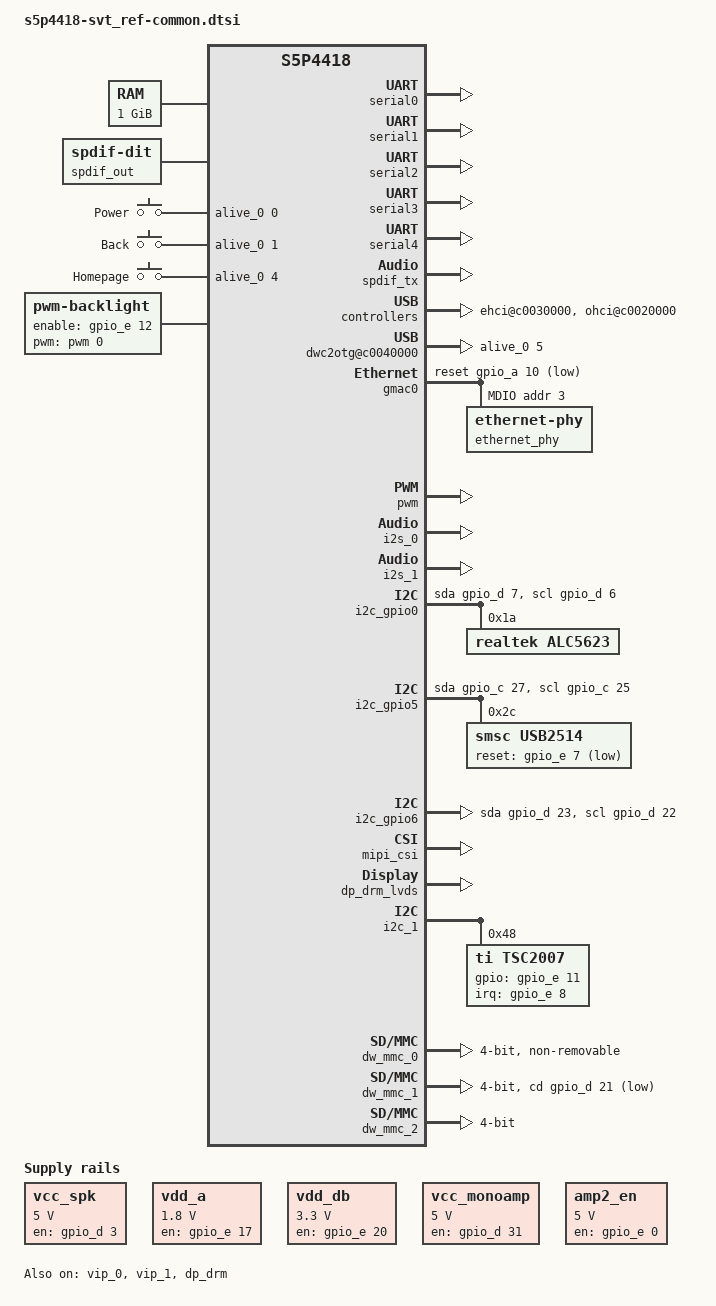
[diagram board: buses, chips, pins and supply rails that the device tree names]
/*
 * Copyright (C) 2019  Nexell Co., Ltd.
 * Author: Ken Kim <kenkim@nexell.co.kr>
 *
 * This program is free software; you can redistribute it and/or
 * modify it under the terms of the GNU General Public License
 * as published by the Free Software Foundation; either version 2
 * of the License, or (at your option) any later version.
 *
 * This program is distributed in the hope that it will be useful,
 * but WITHOUT ANY WARRANTY; without even the implied warranty of
 * MERCHANTABILITY or FITNESS FOR A PARTICULAR PURPOSE.  See the
 * GNU General Public License for more details.
 *
 * You should have received a copy of the GNU General Public License
 * along with this program.  If not, see <http://www.gnu.org/licenses/>.
 */

#include <dt-bindings/interrupt-controller/irq.h>
#include <dt-bindings/gpio/gpio.h>
#include <dt-bindings/input/input.h>
#include "nxp4330.dtsi"

/ {
	memory {
		device_type = "memory";
		reg = <0x71000000 0x40000000>;
	};

	psci {
		compatible = "arm,psci-0.2";
		method = "smc";
	};

	aliases {
		i2c0 = &i2c_gpio0;
		i2c5 = &i2c_gpio5;
		i2c6 = &i2c_gpio6;
		i2c7 = &i2c_gpio7;
	};

	nx-v4l2 {
		status = "okay";
	};

	soc {
		#include "s5p4418-pinctrl.dtsi"
		clocks {
			uart0:uart@c00a9000 { clock-frequency = <100000000>; };
			uart1:uart@c00a8000 { clock-frequency = <100000000>; };
			uart3:uart@c00ab000 { clock-frequency = <147500000>; };
			uart4:uart@c006e000 { clock-frequency = <147500000>; };
			vip0:vip@c00c1000 { src-force = <4>; };
			vip1:vip@c00c2000 { src-force = <5>; };
			pwm0:pwm0@c00ba000 {
				clk-input = <I_PLL2>;
				clock-frequency = <10000000>;
			};
			pwm1:pwm1@c00ba000 {
				clk-input = <I_PLL2>;
				clock-frequency = <10000000>;
			};
			pwm2:pwm2@c00be000 {
				clk-input = <I_PLL2>;
				clock-frequency = <10000000>;
			};
			pwm3:pwm3@c00be000 {
				clk-input = <I_PLL2>;
				clock-frequency = <10000000>;
			};
			i2c0:i2c@c00ae000 { clock-frequency = <200000000>;};
			i2c2:i2c@c00b0000 { clock-frequency = <200000000>;};
		};

		l2:l2-cache-controller@cf000000 {
			arm,prefetch-offset = <7>;
			prefetch-data = <1>;
			prefetch-instr = <1>;
			arm,tag-latency = <3 4 3>;
			arm,data-latency = <3 4 3>;
		};
		serial0:serial@c00a1000 {
			status ="okay";
		};

		serial1:serial@c00a0000 {
			status ="okay";
		};

		serial2:serial@c00a2000 {
			status ="okay";
		};

		serial3:serial@c00a3000 {
			status ="okay";
		};

		serial4:serial@c006d000 {
			status ="okay";
		};

		amba {
			pl08xdma0:pl08xdma@c0000000 {
				use_isr;

				ch12 {
					slave_wait_flush_dma;
				};

				ch13 {
					slave_wait_flush_dma;
				};

				ch14 {
					slave_wait_flush_dma;
				};

				ch15 {
					slave_wait_flush_dma;
				};
			};

			pl08xdma1:pl08xdma@c0001000 {
				use_isr;

				ch0 {
					slave_wait_flush_dma;
				};

				ch1 {
					slave_wait_flush_dma;
				};
			};
		};

		spdif_tx: spdiftx@c0059000 {
			#sound-dai-cells = <1>;
			pcm-bit = <16>;
			sample_rate = <48000>;
			status = "okay";
		};

		watchdog@c0019000 {
			status = "okay";
		};

		rtc@c0010c00 {
			status = "okay";
		};

		nexell_usbphy: nexell-usbphy@c0012000 {
			status = "okay";
		};

		ehci@c0030000 {
			status = "okay";
			port@0 {
				status = "okay";
			};
		};

		ohci@c0020000 {
			status = "okay";
			port@0 {
				status = "okay";
			};
		};

		dwc2otg@c0040000 {
			gpios = <&alive_0 5 0>;
			status = "okay";
		};

		gmac0:ethernet@c0060000 {
			pinctrl-names = "default";
			pinctrl-0 = <&gmac_pins>;

			status = "okay";
			#address-cells = <0x1>;
			#size-cells = <0x0>;

			snps,phy-addr = <3>;
			snps,reset-gpio = <&gpio_a 10 0>;
			snps,reset-active-low;
			snps,reset-delays-us = <0 10000 30000>;

			mdio {
				#address-cells = <1>;
				#size-cells = <0>;

				ethernet_phy: ethernet-phy@3 {
					reg = <3>;
					fixed-link {
						speed = <1000>;
						full-duplex;
					};
				};
			};
		};

		pwm:pwm@c0018000 {
			clock-names = "timers", "pwm-tclk0", "pwm-tclk1";
			clocks =  <&pclk>, <&pwm0>, <&pwm1>;
			pinctrl-names = "default";
			pinctrl-0 = <&pwm0_pin &pwm1_pin>;
			samsung,pwm-outputs = <0>, <1>;
			status = "okay";
		};

		i2s_0:i2s@c0055000 {
			#sound-dai-cells = <1>;
			master-mode = <1>;
			mclk-in = <0>;
			trans-mode = <0>;
			frame-bit = <32>;
			sample-rate = <48000>;
			pre-supply-mclk = <1>;
			status = "okay";
		};

		i2s_1:i2s@c0056000 {
			#sound-dai-cells = <1>;
			master-mode = <1>;
			mclk-in = <0>;
			trans-mode = <0>;
			frame-bit = <32>;
			sample-rate = <48000>;
			pre-supply-mclk = <1>;
			status = "okay";
		};

		pinctrl@C0010000 {
			key_power:key_power {
				nexell,pins = "alive-0";
				nexell,pin-function = <0>;
				nexell,pin-pull = <1>;
				nexell,pin-strength = <0>;
			};

			key_back:key_back {
				nexell,pins = "alive-1";
				nexell,pin-function = <0>;
				nexell,pin-pull = <1>;
				nexell,pin-strength = <0>;
			};

			key_homepage:key_homepage {
				nexell,pins = "alive-4";
				nexell,pin-function = <0>;
				nexell,pin-pull = <1>;
				nexell,pin-strength = <0>;
			};

			toutchpanel_irq: touchpanel-irq {
				nexell,pins = "gpioe-11";
				nexell,pin-function = <0>;
				nexell,pin-pull = <1>;
				nexell,pin-strength = <0>;
			};
		};

		scaler@c0066000 {
			status = "okay";
		};
	};	/*** soc ***/

	vcc_spk: regulator-fix@0 {
		compatible = "regulator-fixed";

		regulator-name = "SPK Vcc";
		regulator-min-microvolt = <5000000>;
		regulator-max-microvolt = <5000000>;
		regulator-boot-on;
		regulator-always-on;

		gpio = <&gpio_d 3 GPIO_ACTIVE_HIGH>;
		enable-active-high;
	};

	vdd_a: regulator-fix@1 {
		compatible = "regulator-fixed";

		regulator-name = "A Vdd";
		regulator-min-microvolt = <1800000>;
		regulator-max-microvolt = <1800000>;
		regulator-boot-on;
		regulator-always-on;

		gpio = <&gpio_e 17 GPIO_ACTIVE_HIGH>;
		enable-active-high;
	};

	vdd_db: regulator-fix@2 {
		compatible = "regulator-fixed";

		regulator-name = "DB Vdd";
		regulator-min-microvolt = <3300000>;
		regulator-max-microvolt = <3300000>;
		regulator-boot-on;
		regulator-always-on;

		gpio = <&gpio_e 20 GPIO_ACTIVE_HIGH>;
		enable-active-high;
	};

	vcc_monoamp: regulator-fix@3 {
		compatible = "regulator-fixed";

		regulator-name = "MONOAMP Vcc";
		regulator-min-microvolt = <5000000>;
		regulator-max-microvolt = <5000000>;
		regulator-boot-on;
		regulator-always-on;

		gpio = <&gpio_d 31 GPIO_ACTIVE_HIGH>;
		enable-active-high;
	};

	amp2_en: regulator-fix@4 {
		compatible = "regulator-fixed";

		regulator-name = "AMP2 EN";
		regulator-min-microvolt = <5000000>;
		regulator-max-microvolt = <5000000>;
		regulator-boot-on;
		regulator-always-on;

		gpio = <&gpio_e 0 GPIO_ACTIVE_HIGH>;
		enable-active-high;
	};

	i2c_gpio0: i2c@0 {
		compatible = "i2c-gpio";
		gpios = <&gpio_d 7 0 /* sda */
		    &gpio_d 6 0 /* scl */>;
		i2c-gpio,delay-us = <100>;
		#address-cells = <1>;
		#size-cells = <0>;

		alc5623: alc5623@1a {
			#sound-dai-cells = <0>;
			compatible = "realtek,alc5623";
			reg = <0x1a>;
		};
	};

	i2c_gpio5: i2c@5 {
		compatible = "i2c-gpio";
		gpios = <&gpio_c 27 0 /* sda */
		    &gpio_c 25 0 /* scl */
		    >;
		i2c-gpio,delay-us = <100>;
		#address-cells = <1>;
		#size-cells = <0>;

		usb2514: usb2514@2c {
			compatible = "smsc,usb2514";
			reg = <0x2c>;
			reset-gpios = <&gpio_e 7 1>;
			initial-mode = <1>;
		};
	};

	i2c_gpio6: i2c@6 {
		compatible = "i2c-gpio";
		gpios = <&gpio_d 23 0 /* sda */
		    &gpio_d 22 0 /* scl */
		    >;
		i2c-gpio,delay-us = <100>;
		#address-cells = <1>;
		#size-cells = <0>;
	};

	i2c_gpio7: i2c@7 {
		status = "disabled";
	};

	sound {
		compatible = "simple-audio-card";
		simple-audio-card,name = "s5p4418 svt_ref Audio";
		simple-audio-card,mclk-fs = <256>;
		simple-audio-card,widgets =
		    "Headphone", "Out Jack",
		    "Microphone", "In Jack";
		simple-audio-card,routing =
		    "Out Jack", "HPOL",
		    "Out Jack", "HPOR",
		    "IN2P", "In Jack",
		    "IN2P", "In Jack";
		status = "okay";

		simple-audio-card,dai-link@0 {
		    format = "i2s";
		    cpu {
			sound-dai = <&i2s_1 0>;
		    };

		    codec {
			sound-dai = <&alc5623>;
		    };
		};

		simple-audio-card,dai-link@1 {
		    format = "spdif";
		    cpu {
			sound-dai = <&spdif_tx 0>;
		    };

		    codec {
			sound-dai = <&spdif_out>;
		    };
		};
	};

	spdif_out: spdif-out {
		#sound-dai-cells = <0>;
		compatible = "linux,spdif-dit";
	};

	gpio_key: gpio_keys {
		compatible = "gpio-keys";
		#address-cells = <1>;
		#size-cells = <0>;
		pinctrl-names = "default";
		pinctrl-0 = <&key_power &key_back &key_homepage>;

		power {
			label = "Power";
			gpios = <&alive_0 0 0>;
			linux,code = <KEY_POWER>;
			gpio-key,wakeup;
		};

		back {
			label = "Back";
			gpios = <&alive_0 1 0>;
			linux,code = <KEY_BACK>;
		};

		homepage {
			label = "Homepage";
			gpios = <&alive_0 4 0>;
			linux,code = <KEY_HOMEPAGE>;
		};
	};

	nexell-ion@0 {
		compatible = "nexell,ion";

		heap_sys_user@0 {
			heap-type = "ion_system";
		};

		heap_sys_contig@0 {
			heap-type = "ion_system_contig";
		};

		heap_dma@0 {
			heap-type = "ion_dma";
		};
	};

	backlight: pwm-backlight {
		compatible = "pwm-backlight";
		pwms = <&pwm 0 20000 1>;
		pwm-names = "pwm-backlight";
		enable-gpios = <&gpio_e 12 0>;

		brightness-levels = <30 31 32 33 34 35 36 37 38 39
				     40 41 42 43 44 45 46 47 48 49
				     50 51 52 53 54 55 56 57 58 59
				     60 61 62 63 64 65 66 67 68 69
				     70 71 72 73 74 75 76 77 78 79
				     80 81 82 83 84 85 86 87 88 89
				     90>;
		default-brightness-level = <45>;
		status = "okay";
	};
};

&vip_0 {
	status = "okay";
};

&vip_1 {
	status = "okay";
};

&mipi_csi {
	data_lane = <2>;
	pllval = <750>;
	hssettle = <7>;
	status = "okay";
};


&dp_drm {
	status = "okay";
	ports {
		port@0 {
			reg = <0>;
			back_color = < 0x0 >;
			color_key = < 0x0 >;
			plane-names = "primary", "video", "rgb";
		};
		port@1 {
			reg = <1>;
			back_color = < 0x0 >;
			color_key = < 0x0 >;
			plane-names = "primary", "video";
		};
	};
};

&dp_drm_lvds {
	status = "ok";
	format = <0x1>; /* JEIDA */
	width-mm = <155>;
	height-mm = <90>;

	display-timing {
		clock-frequency = <55555000>;
		hactive = <1024>;
		vactive = <600>;
		hfront-porch = <160>;
		hback-porch = <140>;
		hsync-len = <20>;
		vfront-porch = <12>;
		vback-porch = <20>;
		vsync-len = <3>;
	};

	dp_control {
		clk_src_lv0 = <2>;
		clk_div_lv0 = <12>;
		clk_src_lv1 = <7>;
		clk_div_lv1 = <1>;
		out_format = <2>;
		invert_field = <1>;
	};
};

&i2c_1 {
	#address-cells = <1>;
	#size-cells = <0>;
	status = "okay";
	rate = <400000>;

	tsc2007: tsc2007@48 {
		compatible = "ti,tsc2007";
		gpios = <&gpio_e 11 0>;
		interrupt-parent = <&gpio_e>;
		interrupts = <8 IRQ_TYPE_EDGE_FALLING>;
		pinctrl-names = "default";
		pinctrl-0 = <&toutchpanel_irq>;
		reg = <0x48>;
		ti,x-plate-ohms = <180>;
	};
};

&dw_mmc_0 {
	num-slots = <1>;
	bus-width = <4>;
	cap-mmc-highspeed;
	broken-cd;
	non-removable;
	clock-frequency = <50000000>;
	card-detect-delay = <200>;
	disable-wp;
	nexell,drive_dly = <0x0>;
	nexell,drive_shift = <0x02>;
	nexell,sample_dly = <0x00>;
	nexell,sample_shift = <0x01>;
	status = "okay";
};

&dw_mmc_1 {
	num-slots = <1>;
	bus-width = <4>;
	cap-sd-highspeed;
	clock-frequency = <50000000>;
	card-detect-delay = <200>;
	disable-wp;
	cd-gpios = <&gpio_d 21 0>;
	cd-inverted;
	nexell,drive_dly = <0x0>;
	nexell,drive_shift = <0x02>;
	nexell,sample_dly = <0x00>;
	nexell,sample_shift = <0x01>;
	status = "okay";
};

&dw_mmc_2 {
	num-slots = <1>;
	bus-width = <4>;
	cap-sd-highspeed;
	clock-frequency = <50000000>;
	card-detect-delay = <200>;
	disable-wp;
	nexell,drive_dly = <0x0>;
	nexell,drive_shift = <0x02>;
	nexell,sample_dly = <0x00>;
	nexell,sample_shift = <0x01>;
	status = "okay";
};
